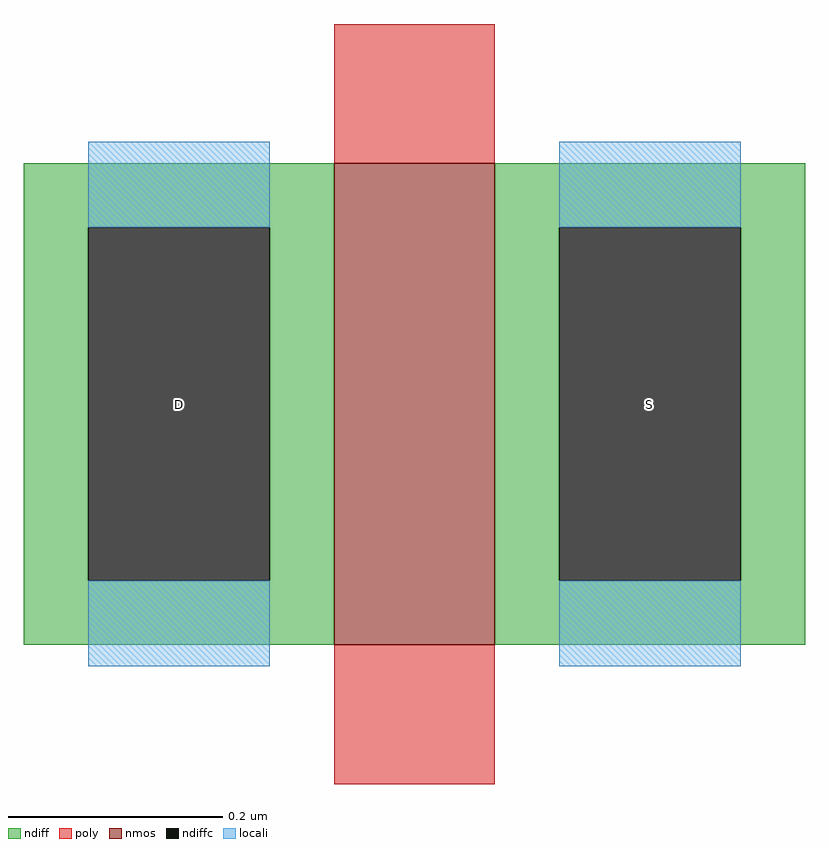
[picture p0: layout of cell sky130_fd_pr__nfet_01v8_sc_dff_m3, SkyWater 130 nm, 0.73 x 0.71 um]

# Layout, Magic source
magic
tech sky130A
magscale 1 2
<< nmos >>
rect 1008 -1422 1038 -1332
<< ndiff >>
rect 950 -1344 1008 -1332
rect 950 -1410 962 -1344
rect 996 -1410 1008 -1344
rect 950 -1422 1008 -1410
rect 1038 -1344 1096 -1332
rect 1038 -1410 1050 -1344
rect 1084 -1410 1096 -1344
rect 1038 -1422 1096 -1410
<< ndiffc >>
rect 962 -1410 996 -1344
rect 1050 -1410 1084 -1344
<< poly >>
rect 1008 -1332 1038 -1306
rect 1008 -1448 1038 -1422
<< locali >>
rect 962 -1344 996 -1328
rect 962 -1426 996 -1410
rect 1050 -1344 1084 -1328
rect 1050 -1426 1084 -1410
<< labels >>
rlabel ndiffc 979 -1377 979 -1377 0 D
port 1 nsew
rlabel ndiffc 1067 -1377 1067 -1377 0 S
port 2 nsew
<< end >>
